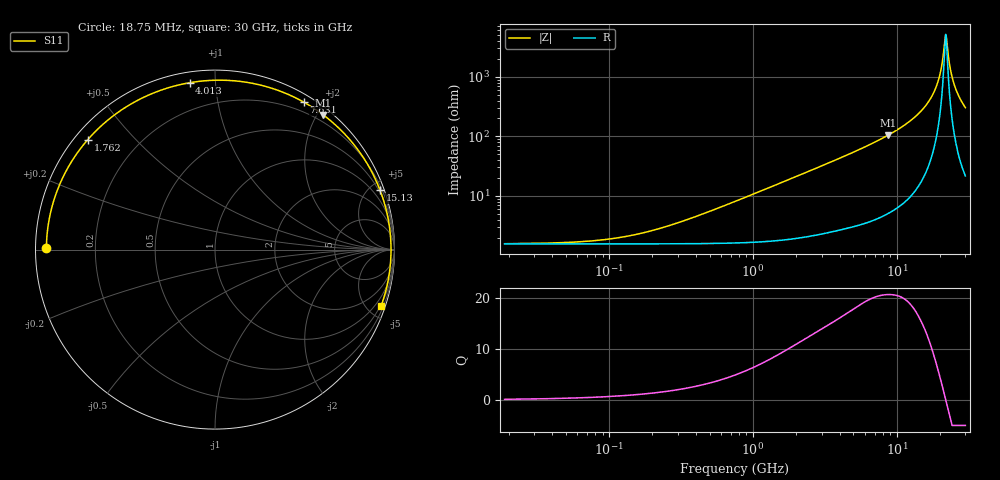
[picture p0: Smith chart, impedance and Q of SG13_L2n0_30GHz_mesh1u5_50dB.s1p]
#  Hz  S  RI  R  50
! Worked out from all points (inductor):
!   1600 points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, 18.75 MHz to 30 GHz, reference 50 ohm
!   read as one part to ground: L = 1.68 nH near 468.8 MHz
!   highest Q = 20.7 at 8.681 GHz (marker M1), where L = 1.91 nH
!   self-resonance near 21.92 GHz
!   S11 on the Smith chart (normalised r, x): 18.75 MHz: 0.03, +0.00; 1.762 GHz: 0.04, +0.37; 4.013 GHz: 0.05, +0.86; 7.631 GHz: 0.09, +1.77; 15.13 GHz: 0.38, +5.67; 30 GHz: 0.43, -6.06
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1.875e7  -0.9394 0.00743
1.5e8  -0.9376 0.0594
4.125e8  -0.9251 0.1622
8.25e8  -0.8835 0.3172
1.3125e9  -0.804 0.4825
1.7625e9  -0.7088 0.6127
2.23125e9  -0.5953 0.7228
2.71875e9  -0.4697 0.8102
3.225e9  -0.338 0.8744
3.76875e9  -0.2007 0.9177
4.0125e9  -0.1416 0.9297
4.40625e9  -0.0501 0.9411
4.81875e9  0.04 0.9439
5.7375e9  0.2184 0.9244
6.6e9  0.3584 0.8846
7.51875e9  0.481 0.8291
7.63125e9  0.4944 0.8218
8.68125e9  0.6037 0.7503
9.91875e9  0.7034 0.6638
1.126875e10  0.7849 0.5713
1.30125e10  0.8598 0.4583
1.501875e10  0.9164 0.3391
1.513125e10  0.9189 0.3327
1.685625e10  0.9493 0.2392
1.876875e10  0.9695 0.1433
2.251875e10  0.9804 -0.0258
2.626875e10  0.9639 -0.1763
3e10  0.9261 -0.3128
